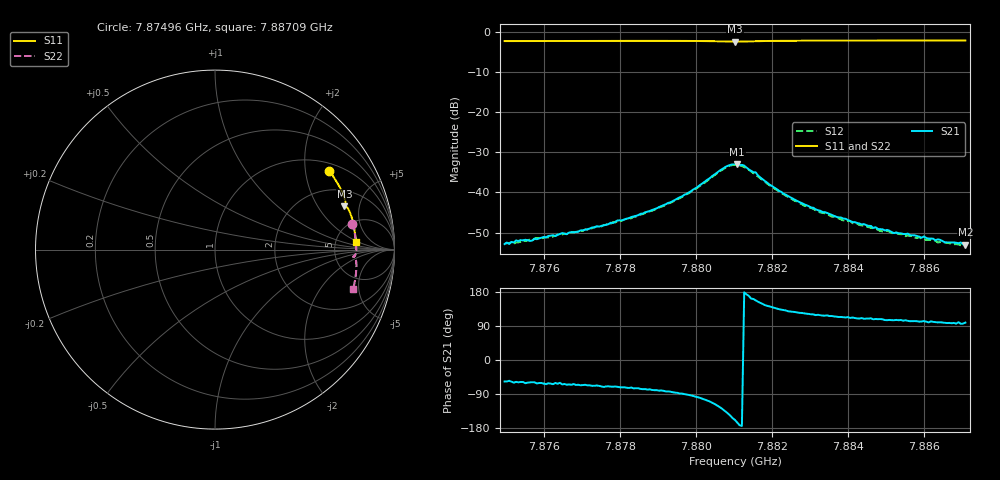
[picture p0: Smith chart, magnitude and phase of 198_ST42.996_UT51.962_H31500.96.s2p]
#  HZ  S  DB  R  50.00
! Rohde & Schwarz Vector Network Analyzer
! Rohde-Schwarz,ZNB20-2Port,1311601062101988,3.16
! Created: UTC 1/12/2023, 6:44:06 PM
! freq[Hz]  db:S11  ang:S11  db:S21  ang:S21  db:S12  ang:S12  db:S22  ang:S22
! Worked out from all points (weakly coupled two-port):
!   201 points, 7.87496 GHz to 7.88709 GHz, reference 50 ohm
!   highest |S21| = -32.88 dB at 7.88109 GHz (marker M1); lowest = -53.0 dB at 7.88709 GHz (marker M2)
!   lowest |S11| = -2.4 dB at 7.88103 GHz (marker M3), VSWR 7.35, Z = 154 + j177 ohm
!   |S11| at or under -10 dB: nowhere
!   |S22| runs from -2.3 to -1.9 dB; largest |S21 - S12| = 0.0022
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7.874962e9  -2.24 34.6  -52.87 -56.7  -52.78 -61.1  -2.17 10.7
7.875143e9  -2.23 34.1  -52.34 -57.3  -52.41 -59.4  -2.16 10.3
7.875204e9  -2.23 33.9  -52.49 -59.8  -52.83 -61.1  -2.16 10.2
7.875447e9  -2.23 33.3  -51.98 -58.1  -51.83 -62.0  -2.16 9.6
7.875689e9  -2.22 32.6  -51.99 -58.6  -52.03 -62.9  -2.15 9.0
7.87575e9  -2.23 32.5  -51.58 -58.8  -51.46 -63.4  -2.14 8.9
7.876175e9  -2.22 31.3  -50.79 -62.3  -51.27 -67.3  -2.14 7.9
7.87666e9  -2.21 30.0  -50.00 -64.4  -49.85 -67.8  -2.12 6.7
7.877024e9  -2.20 29.0  -49.46 -66.1  -49.60 -69.9  -2.12 5.9
7.878297e9  -2.18 25.5  -46.13 -72.6  -46.44 -77.6  -2.09 2.9
7.879025e9  -2.19 23.4  -43.65 -80.9  -43.80 -83.5  -2.07 1.2
7.879814e9  -2.20 21.2  -40.01 -92.5  -40.20 -95.8  -2.08 -0.8
7.880784e9  -2.34 18.7  -33.58 -136.4  -33.79 -139.6  -2.23 -3.0
7.881027e9  -2.38 18.6  -33.03 -158.3  -33.11 -162.3  -2.28 -3.0
7.881088e9  -2.37 18.6  -32.88 -165.4  -33.15 -167.9  -2.27 -2.9
7.881573e9  -2.26 18.0  -35.00 157.3  -35.64 153.5  -2.16 -3.2
7.881694e9  -2.24 17.7  -36.29 150.7  -36.49 147.3  -2.12 -3.5
7.882301e9  -2.17 15.9  -40.27 131.9  -40.46 128.4  -2.05 -5.0
7.883089e9  -2.14 13.7  -43.82 120.4  -44.11 116.3  -2.01 -6.9
7.88412e9  -2.12 10.9  -47.37 112.0  -47.68 108.7  -1.98 -9.2
7.885091e9  -2.10 8.3  -49.55 105.7  -49.78 104.1  -1.96 -11.4
7.887092e9  -2.08 3.0  -53.03 98.8  -53.40 94.9  -1.94 -15.7
